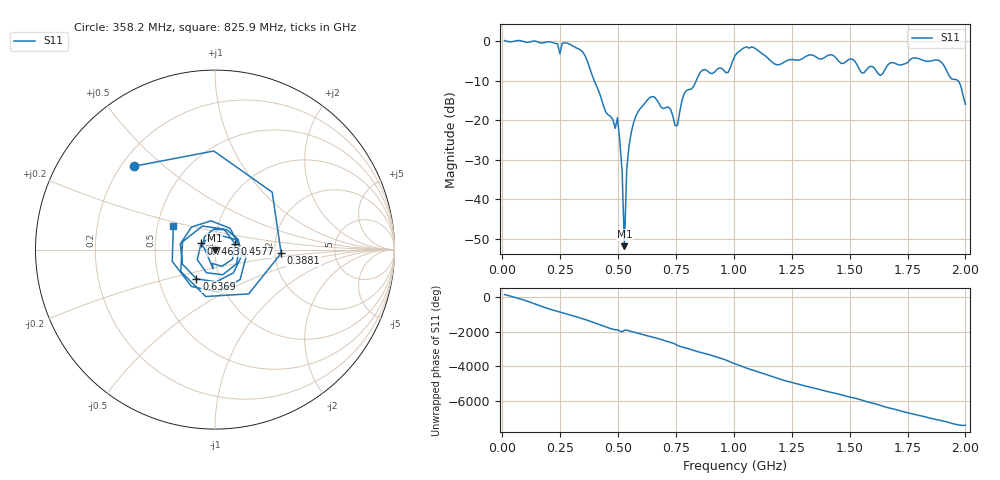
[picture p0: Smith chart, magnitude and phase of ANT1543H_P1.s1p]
!Created with skrf (http://scikit-rf.org).
# Hz S RI R 50.0
!freq ReS11 ImS11
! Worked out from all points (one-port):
!   201 points, 10 MHz to 2 GHz, reference 50 ohm
!   lowest |S11| = -51.9 dB at 527.4 MHz (marker M1), VSWR 1.01, Z = 49.9 - j0.206 ohm
!   |S11| at or under -10 dB: 396.9 MHz to 837.7 MHz (440.8 MHz wide, 71.4 % of centre); 1.968 GHz to end of sweep
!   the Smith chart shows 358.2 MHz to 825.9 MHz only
!   S11 on the Smith chart (normalised r, x): 358.2 MHz: 0.25, +0.40; 388.1 MHz: 2.17, -0.10; 457.8 MHz: 1.25, +0.08; 636.9 MHz: 0.77, -0.26; 746.3 MHz: 0.85, +0.06; 825.9 MHz: 0.61, +0.17
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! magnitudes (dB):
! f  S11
! 10 MHz  0.1
! 258.8 MHz  -0.6
! 358.2 MHz  -3.8
! 388.1 MHz  -8.7
! 457.8 MHz  -18.7
! 487.6 MHz  -22.1
! 497.6 MHz  -19.4
! 507.5 MHz  -25.4
! 517.5 MHz  -32.9
! 527.4 MHz  -51.9
! 537.4 MHz  -32.5
! 557.2 MHz  -23.0
! 636.9 MHz  -14.3
! 726.4 MHz  -17.2
! 746.3 MHz  -21.4
! 756.2 MHz  -21.4
! 786.1 MHz  -13.2
! 825.9 MHz  -11.5
! 865.7 MHz  -7.3
! 975.1 MHz  -7.9
! 1.005 GHz  -3.7
! 1.254 GHz  -4.7
! 1.502 GHz  -4.5
! 1.632 GHz  -8.7
! 1.751 GHz  -5.4
! 1.891 GHz  -5.1
! 1.97 GHz  -10.1
! 2 GHz  -16.0
